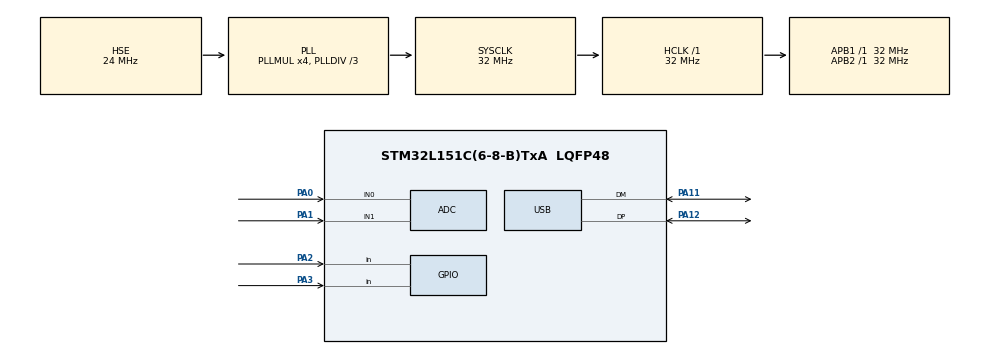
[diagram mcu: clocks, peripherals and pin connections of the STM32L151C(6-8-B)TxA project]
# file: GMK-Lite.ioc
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ADC.Channel-0\#ChannelRegularConversion=ADC_CHANNEL_0
ADC.Channel-1\#ChannelRegularConversion=ADC_CHANNEL_1
ADC.DiscontinuousConvMode=ENABLE
ADC.NbrOfConversion=2
ADC.NbrOfConversionFlag=1
ADC.Rank-0\#ChannelRegularConversion=1
ADC.Rank-1\#ChannelRegularConversion=2
ADC.SamplingTime-0\#ChannelRegularConversion=ADC_SAMPLETIME_24CYCLES
ADC.SamplingTime-1\#ChannelRegularConversion=ADC_SAMPLETIME_24CYCLES
ADC.ScanConvMode=ADC_SCAN_ENABLE
Dma.ADC.0.Direction=DMA_PERIPH_TO_MEMORY
Dma.ADC.0.Instance=DMA1_Channel1
Dma.ADC.0.MemDataAlignment=DMA_MDATAALIGN_WORD
Dma.ADC.0.MemInc=DMA_MINC_ENABLE
Dma.ADC.0.Mode=DMA_NORMAL
Dma.ADC.0.PeriphDataAlignment=DMA_PDATAALIGN_WORD
Dma.ADC.0.PeriphInc=DMA_PINC_DISABLE
Dma.ADC.0.Priority=DMA_PRIORITY_LOW
Dma.Request0=ADC
Mcu.Family=STM32L1
Mcu.Name=STM32L151C(6-8-B)TxA
Mcu.Package=LQFP48
NVIC.DMA1_Channel1_IRQn=true\:0\:0\:false\:false\:true\:false\:true
NVIC.PriorityGroup=NVIC_PRIORITYGROUP_4
NVIC.TIM2_IRQn=true\:1\:0\:true\:false\:true\:true\:true
NVIC.USB_HP_IRQn=true\:1\:0\:true\:false\:true\:true\:true
NVIC.USB_LP_IRQn=true\:1\:0\:true\:false\:true\:false\:true
PA0-WKUP1.Mode=IN0
PA0-WKUP1.Signal=ADC_IN0
PA1.Mode=IN1
PA1.Signal=ADC_IN1
PA11.Mode=Device
PA11.Signal=USB_DM
PA12.Mode=Device
PA12.Signal=USB_DP
PA2.Signal=GPIO_Input
PA3.Signal=GPIO_Input
PH0-OSC_IN.Mode=HSE-External-Oscillator
PH0-OSC_IN.Signal=RCC_OSC_IN
PH1-OSC_OUT.Mode=HSE-External-Oscillator
PH1-OSC_OUT.Signal=RCC_OSC_OUT
ProjectManager.HeapSize=0x200
ProjectManager.StackSize=0x400
ProjectManager.TargetToolchain=STM32CubeIDE
RCC.48MHZClocksFreq_Value=48000000
RCC.AHBFreq_Value=32000000
RCC.APB1Freq_Value=32000000
RCC.APB1TimFreq_Value=32000000
RCC.APB2Freq_Value=32000000
RCC.APB2TimFreq_Value=32000000
RCC.HCLKFreq_Value=32000000
RCC.HSE_VALUE=24000000
RCC.HSI_VALUE=16000000
RCC.LSE_VALUE=32768
RCC.MSI_VALUE=2097000
RCC.PLLDIV=RCC_PLL_DIV3
RCC.PLLMUL=RCC_PLL_MUL4
RCC.SYSCLKFreq_VALUE=32000000
RCC.SYSCLKSource=RCC_SYSCLKSOURCE_PLLCLK
RCC.VCOOutputFreq_Value=96000000
TIM2.Period=49
TIM2.Prescaler=639
USB_DEVICE.CLASS_NAME_FS=CUSTOM_HID
USB_DEVICE.CUSTOM_HID_FS_BINTERVAL=0x01
USB_DEVICE.MANUFACTURER_STRING=GMK
USB_DEVICE.PRODUCT_STRING_CUSTOMHID_FS=GMK Lite
USB_DEVICE.USBD_CUSTOMHID_OUTREPORT_BUF_SIZE=5
USB_DEVICE.USBD_CUSTOM_HID_REPORT_DESC_SIZE=54
USB_DEVICE.VirtualMode=CustomHid
USB_DEVICE.VirtualModeFS=Custom_Hid_FS
VP_TIM2_VS_ClockSourceINT.Mode=Internal
VP_USB_DEVICE_VS_USB_DEVICE_CUSTOM_HID_FS.Mode=CUSTOM_HID_FS
board=custom

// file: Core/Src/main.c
/* USER CODE BEGIN Header */
/**
  ******************************************************************************
  * @file           : main.c
  * @brief          : Main program body
  ******************************************************************************
  * @attention
  *
  * <h2><center>&copy; Copyright (c) 2020 STMicroelectronics.
  * All rights reserved.</center></h2>
  *
  * This software component is licensed by ST under BSD 3-Clause license,
  * the "License"; You may not use this file except in compliance with the
  * License. You may obtain a copy of the License at:
  *                        opensource.org/licenses/BSD-3-Clause
  *
  ******************************************************************************
  */
/* USER CODE END Header */
#include "main.h"
#include "usb_device.h"

/* USER CODE BEGIN Includes */

#include "joystick.h"

/* USER CODE END Includes */

ADC_HandleTypeDef hadc;
DMA_HandleTypeDef hdma_adc;

TIM_HandleTypeDef htim2;

/* USER CODE BEGIN PV */

extern USBD_HandleTypeDef hUsbDeviceFS;

struct controllerHID_t {
	uint8_t x[2];
	uint8_t y[2];
	uint8_t buttons;
};
struct controllerHID_t controllerHID;

//Import ADC Buffer
extern uint32_t ADC_Buffer[2];

//Import Joysticks
extern joystick js;

//Declare a pointer to the location of the Joysticks struct
joystick *joy = &js;

//USB Transmission is disabled by default
uint8_t USB_Stop = 1;

#if DEBUG_TRANSMIT
uint32_t USB_Fails = 0;
uint32_t USB_Successes = 0;
uint8_t TIM_Overlap = 0;
#endif

/* USER CODE END PV */

void SystemClock_Config(void);
static void MX_GPIO_Init(void);
static void MX_DMA_Init(void);
static void MX_ADC_Init(void);
static void MX_TIM2_Init(void);
/* USER CODE BEGIN PFP */

extern uint8_t USBD_CUSTOM_HID_SendReport(USBD_HandleTypeDef  *pdev, uint8_t *report, uint16_t len);

#if DEBUG_TRANSMIT
void Timer_Overlap_Error();
void USB_Failure();
void USB_Success();
#endif

/* USER CODE END PFP */

int main(void)
{

  /* MCU Configuration--------------------------------------------------------*/

  /* Reset of all peripherals, Initializes the Flash interface and the Systick. */
  HAL_Init();

  /* Configure the system clock */
  SystemClock_Config();

  /* Initialize all configured peripherals */
  MX_GPIO_Init();
  MX_DMA_Init();
  MX_ADC_Init();
  MX_TIM2_Init();
  MX_USB_DEVICE_Init();
  /* USER CODE BEGIN 2 */

  controllerHID.x[0] = 0;
  controllerHID.x[1] = 0;
  controllerHID.y[0] = 0;
  controllerHID.y[1] = 0;
  controllerHID.buttons = 0;

  //Setup Joystick(s)
  Init_Joysticks();

  //Start Transmitting USB timer
  HAL_TIM_Base_Start_IT(&htim2);

  //Calibrate Joystick(s)
  Calibrate_Joysticks();

  //Enable USB Transmission
  USB_Stop = 0;

  /* USER CODE END 2 */

  /* Infinite loop */
  while (1)
  {

  }
}

void SystemClock_Config(void)
{
  RCC_OscInitTypeDef RCC_OscInitStruct = {0};
  RCC_ClkInitTypeDef RCC_ClkInitStruct = {0};

  /** Configure the main internal regulator output voltage
  */
  __HAL_PWR_VOLTAGESCALING_CONFIG(PWR_REGULATOR_VOLTAGE_SCALE1);
  /** Initializes the RCC Oscillators according to the specified parameters
  * in the RCC_OscInitTypeDef structure.
  */
  RCC_OscInitStruct.OscillatorType = RCC_OSCILLATORTYPE_HSI|RCC_OSCILLATORTYPE_HSE;
  RCC_OscInitStruct.HSEState = RCC_HSE_ON;
  RCC_OscInitStruct.HSIState = RCC_HSI_ON;
  RCC_OscInitStruct.HSICalibrationValue = RCC_HSICALIBRATION_DEFAULT;
  RCC_OscInitStruct.PLL.PLLState = RCC_PLL_ON;
  RCC_OscInitStruct.PLL.PLLSource = RCC_PLLSOURCE_HSE;
  RCC_OscInitStruct.PLL.PLLMUL = RCC_PLL_MUL4;
  RCC_OscInitStruct.PLL.PLLDIV = RCC_PLL_DIV3;
  if (HAL_RCC_OscConfig(&RCC_OscInitStruct) != HAL_OK)
  {
    Error_Handler();
  }
  /** Initializes the CPU, AHB and APB buses clocks
  */
  RCC_ClkInitStruct.ClockType = RCC_CLOCKTYPE_HCLK|RCC_CLOCKTYPE_SYSCLK
                              |RCC_CLOCKTYPE_PCLK1|RCC_CLOCKTYPE_PCLK2;
  RCC_ClkInitStruct.SYSCLKSource = RCC_SYSCLKSOURCE_PLLCLK;
  RCC_ClkInitStruct.AHBCLKDivider = RCC_SYSCLK_DIV1;
  RCC_ClkInitStruct.APB1CLKDivider = RCC_HCLK_DIV1;
  RCC_ClkInitStruct.APB2CLKDivider = RCC_HCLK_DIV1;

  if (HAL_RCC_ClockConfig(&RCC_ClkInitStruct, FLASH_LATENCY_1) != HAL_OK)
  {
    Error_Handler();
  }
}

static void MX_ADC_Init(void)
{

  ADC_ChannelConfTypeDef sConfig = {0};

  /** Configure the global features of the ADC (Clock, Resolution, Data Alignment and number of conversion)
  */
  hadc.Instance = ADC1;
  hadc.Init.ClockPrescaler = ADC_CLOCK_ASYNC_DIV1;
  hadc.Init.Resolution = ADC_RESOLUTION_12B;
  hadc.Init.DataAlign = ADC_DATAALIGN_RIGHT;
  hadc.Init.ScanConvMode = ADC_SCAN_ENABLE;
  hadc.Init.EOCSelection = ADC_EOC_SEQ_CONV;
  hadc.Init.LowPowerAutoWait = ADC_AUTOWAIT_DISABLE;
  hadc.Init.LowPowerAutoPowerOff = ADC_AUTOPOWEROFF_DISABLE;
  hadc.Init.ChannelsBank = ADC_CHANNELS_BANK_A;
  hadc.Init.ContinuousConvMode = DISABLE;
  hadc.Init.NbrOfConversion = 2;
  hadc.Init.DiscontinuousConvMode = ENABLE;
  hadc.Init.NbrOfDiscConversion = 1;
  hadc.Init.ExternalTrigConv = ADC_SOFTWARE_START;
  hadc.Init.ExternalTrigConvEdge = ADC_EXTERNALTRIGCONVEDGE_NONE;
  hadc.Init.DMAContinuousRequests = DISABLE;
  if (HAL_ADC_Init(&hadc) != HAL_OK)
  {
    Error_Handler();
  }
  /** Configure for the selected ADC regular channel its corresponding rank in the sequencer and its sample time.
  */
  sConfig.Channel = ADC_CHANNEL_0;
  sConfig.Rank = ADC_REGULAR_RANK_1;
  sConfig.SamplingTime = ADC_SAMPLETIME_24CYCLES;
  if (HAL_ADC_ConfigChannel(&hadc, &sConfig) != HAL_OK)
  {
    Error_Handler();
  }
  /** Configure for the selected ADC regular channel its corresponding rank in the sequencer and its sample time.
  */
  sConfig.Channel = ADC_CHANNEL_1;
  sConfig.Rank = ADC_REGULAR_RANK_2;
  if (HAL_ADC_ConfigChannel(&hadc, &sConfig) != HAL_OK)
  {
    Error_Handler();
  }

}

static void MX_TIM2_Init(void)
{

  TIM_ClockConfigTypeDef sClockSourceConfig = {0};
  TIM_MasterConfigTypeDef sMasterConfig = {0};

  htim2.Instance = TIM2;
  htim2.Init.Prescaler = 639;
  htim2.Init.CounterMode = TIM_COUNTERMODE_UP;
  htim2.Init.Period = 49;
  htim2.Init.ClockDivision = TIM_CLOCKDIVISION_DIV1;
  htim2.Init.AutoReloadPreload = TIM_AUTORELOAD_PRELOAD_DISABLE;
  if (HAL_TIM_Base_Init(&htim2) != HAL_OK)
  {
    Error_Handler();
  }
  sClockSourceConfig.ClockSource = TIM_CLOCKSOURCE_INTERNAL;
  if (HAL_TIM_ConfigClockSource(&htim2, &sClockSourceConfig) != HAL_OK)
  {
    Error_Handler();
  }
  sMasterConfig.MasterOutputTrigger = TIM_TRGO_RESET;
  sMasterConfig.MasterSlaveMode = TIM_MASTERSLAVEMODE_DISABLE;
  if (HAL_TIMEx_MasterConfigSynchronization(&htim2, &sMasterConfig) != HAL_OK)
  {
    Error_Handler();
  }

}

static void MX_DMA_Init(void)
{

  /* DMA controller clock enable */
  __HAL_RCC_DMA1_CLK_ENABLE();

  /* DMA interrupt init */
  /* DMA1_Channel1_IRQn interrupt configuration */
  HAL_NVIC_SetPriority(DMA1_Channel1_IRQn, 0, 0);
  HAL_NVIC_EnableIRQ(DMA1_Channel1_IRQn);

}

static void MX_GPIO_Init(void)
{
  GPIO_InitTypeDef GPIO_InitStruct = {0};

  /* GPIO Ports Clock Enable */
  __HAL_RCC_GPIOH_CLK_ENABLE();
  __HAL_RCC_GPIOA_CLK_ENABLE();

  /*Configure GPIO pins : PA2 PA3 */
  GPIO_InitStruct.Pin = GPIO_PIN_2|GPIO_PIN_3;
  GPIO_InitStruct.Mode = GPIO_MODE_INPUT;
  GPIO_InitStruct.Pull = GPIO_NOPULL;
  HAL_GPIO_Init(GPIOA, &GPIO_InitStruct);

}

/* USER CODE BEGIN 4 */

void HAL_ADC_ConvCpltCallback(ADC_HandleTypeDef *hadcin){
	HAL_ADC_Stop_DMA(&hadc);
	Update_Values();
}

void HAL_TIM_PeriodElapsedCallback(TIM_HandleTypeDef *htim){
#if DEBUG_TRANSMIT
	if (TIM_Overlap)
		Timer_Overlap_Error();
	else
		TIM_Overlap = 1;
#endif
	if (!USB_Stop){
		if (USBD_CUSTOM_HID_SendReport(&hUsbDeviceFS, (uint8_t *)&controllerHID, sizeof(struct controllerHID_t)) != USBD_OK){
#if DEBUG_TRANSMIT
			USB_Failure();
#endif
		}
		else{
#if DEBUG_TRANSMIT
			USB_Success();
#endif
		}
		Update_Bounds(&joy[0]);
		Map_Values(&joy[0]);

		controllerHID.x[0] = LOWBYTE(joy[0].x);
		controllerHID.x[1] = HIGHBYTE(joy[0].x);
		controllerHID.y[0] = LOWBYTE(joy[0].y);
		controllerHID.y[1] = HIGHBYTE(joy[0].y);
		controllerHID.buttons = 0;
	}
	HAL_ADC_Start_DMA(&hadc, ADC_Buffer, 2);
#if DEBUG_TRANSMIT
	TIM_Overlap = 0;
#endif
}

#if DEBUG_TRANSMIT
void Timer_Overlap_Error(){
	//Green LED
	HAL_GPIO_TogglePin(GPIOA, GPIO_PIN_3);
}

void USB_Failure(){
	//Blue LED
	HAL_GPIO_TogglePin(GPIOA, GPIO_PIN_4);
	USB_Fails++;
}

void USB_Success(){
	//Blue LED
	USB_Successes++;
}
#endif

/* USER CODE END 4 */

void Error_Handler(void)
{
  __disable_irq();
  while (1)
  {
  }
}

/************************ (C) COPYRIGHT STMicroelectronics *****END OF FILE****/
